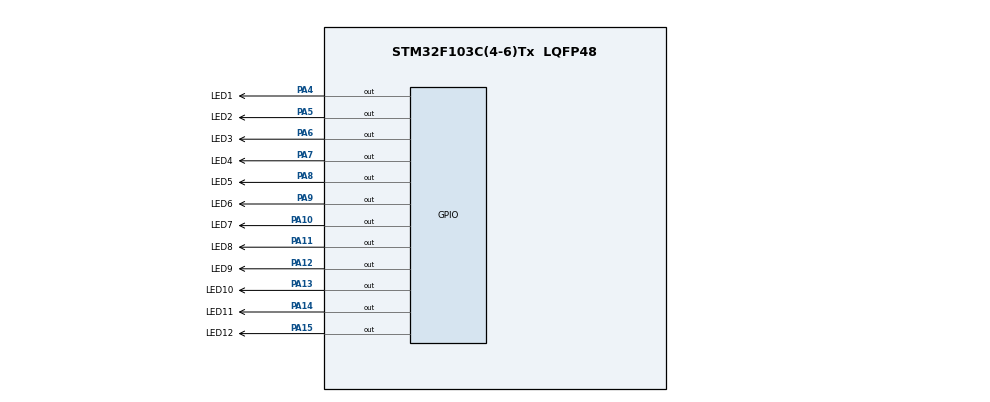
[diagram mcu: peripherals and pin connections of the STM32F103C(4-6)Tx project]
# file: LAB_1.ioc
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Mcu.Family=STM32F1
Mcu.Name=STM32F103C(4-6)Tx
Mcu.Package=LQFP48
NVIC.PriorityGroup=NVIC_PRIORITYGROUP_4
PA10.GPIO_Label=LED7
PA10.Signal=GPIO_Output
PA11.GPIO_Label=LED8
PA11.Signal=GPIO_Output
PA12.GPIO_Label=LED9
PA12.Signal=GPIO_Output
PA13.GPIO_Label=LED10
PA13.Signal=GPIO_Output
PA14.GPIO_Label=LED11
PA14.Signal=GPIO_Output
PA15.GPIO_Label=LED12
PA15.Signal=GPIO_Output
PA4.GPIO_Label=LED1
PA4.Signal=GPIO_Output
PA5.GPIO_Label=LED2
PA5.Signal=GPIO_Output
PA6.GPIO_Label=LED3
PA6.Signal=GPIO_Output
PA7.GPIO_Label=LED4
PA7.Signal=GPIO_Output
PA8.GPIO_Label=LED5
PA8.Signal=GPIO_Output
PA9.GPIO_Label=LED6
PA9.Signal=GPIO_Output
ProjectManager.HeapSize=0x200
ProjectManager.StackSize=0x400
ProjectManager.TargetToolchain=STM32CubeIDE
RCC.APB1Freq_Value=8000000
RCC.APB2Freq_Value=8000000
board=custom

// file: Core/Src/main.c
/* USER CODE BEGIN Header */
/**
  ******************************************************************************
  * @file           : main.c
  * @brief          : Main program body
  ******************************************************************************
  * @attention
  *
  * Copyright (c) 2025 STMicroelectronics.
  * All rights reserved.
  *
  * This software is licensed under terms that can be found in the LICENSE file
  * in the root directory of this software component.
  * If no LICENSE file comes with this software, it is provided AS-IS.
  *
  ******************************************************************************
  */
/* USER CODE END Header */
#include "main.h"

/* USER CODE BEGIN Includes */
#include "led_7seg.h"
#include "auto_led.h"
/* USER CODE END Includes */

/* USER CODE BEGIN PV */
int hour = 23;
int minute = 24;
int second = 50;
/* USER CODE END PV */

void SystemClock_Config(void);
static void MX_GPIO_Init(void);

int main(void)
{

  /* MCU Configuration--------------------------------------------------------*/

  /* Reset of all peripherals, Initializes the Flash interface and the Systick. */
  HAL_Init();

  /* Configure the system clock */
  SystemClock_Config();

  /* Initialize all configured peripherals */
  MX_GPIO_Init();

  /* Infinite loop */
  /* USER CODE BEGIN WHILE */
  while (1)
  {
	  clearAllClock();

	  // tính vị trí cho led giờ phút giây
	  int sec_pos = second/5; // 60 giay cho 12 vi tri, 5s/led
	  int min_pos = minute/5; // tuong tu cho phut
	  int hour_pos = hour%12;

	  //bat 3 led tuong ung
	  setNumberOnClock(sec_pos);
	  setNumberOnClock(min_pos);
	  setNumberOnClock(hour_pos);

	  HAL_Delay(1000);

	  // Cập nhật thời gian
	      second++;
	      if (second >= 60) {
	          second = 0;
	          minute++;
	      }
	      if (minute >= 60) {
	          minute = 0;
	          hour++;
	      }
	      if (hour >= 24) {
	          hour = 0;
	      }

    /* USER CODE END WHILE */

  }
}

void SystemClock_Config(void)
{
  RCC_OscInitTypeDef RCC_OscInitStruct = {0};
  RCC_ClkInitTypeDef RCC_ClkInitStruct = {0};

  /** Initializes the RCC Oscillators according to the specified parameters
  * in the RCC_OscInitTypeDef structure.
  */
  RCC_OscInitStruct.OscillatorType = RCC_OSCILLATORTYPE_HSI;
  RCC_OscInitStruct.HSIState = RCC_HSI_ON;
  RCC_OscInitStruct.HSICalibrationValue = RCC_HSICALIBRATION_DEFAULT;
  RCC_OscInitStruct.PLL.PLLState = RCC_PLL_NONE;
  if (HAL_RCC_OscConfig(&RCC_OscInitStruct) != HAL_OK)
  {
    Error_Handler();
  }

  /** Initializes the CPU, AHB and APB buses clocks
  */
  RCC_ClkInitStruct.ClockType = RCC_CLOCKTYPE_HCLK|RCC_CLOCKTYPE_SYSCLK
                              |RCC_CLOCKTYPE_PCLK1|RCC_CLOCKTYPE_PCLK2;
  RCC_ClkInitStruct.SYSCLKSource = RCC_SYSCLKSOURCE_HSI;
  RCC_ClkInitStruct.AHBCLKDivider = RCC_SYSCLK_DIV1;
  RCC_ClkInitStruct.APB1CLKDivider = RCC_HCLK_DIV1;
  RCC_ClkInitStruct.APB2CLKDivider = RCC_HCLK_DIV1;

  if (HAL_RCC_ClockConfig(&RCC_ClkInitStruct, FLASH_LATENCY_0) != HAL_OK)
  {
    Error_Handler();
  }
}

static void MX_GPIO_Init(void)
{
  GPIO_InitTypeDef GPIO_InitStruct = {0};

  /* GPIO Ports Clock Enable */
  __HAL_RCC_GPIOA_CLK_ENABLE();

  /*Configure GPIO pin Output Level */
  HAL_GPIO_WritePin(GPIOA, LED1_Pin|LED2_Pin|LED3_Pin|LED4_Pin
                          |LED5_Pin|LED6_Pin|LED7_Pin|LED8_Pin
                          |LED9_Pin|LED10_Pin|LED11_Pin|LED12_Pin, GPIO_PIN_RESET);

  /*Configure GPIO pins : LED1_Pin LED2_Pin LED3_Pin LED4_Pin
                           LED5_Pin LED6_Pin LED7_Pin LED8_Pin
                           LED9_Pin LED10_Pin LED11_Pin LED12_Pin */
  GPIO_InitStruct.Pin = LED1_Pin|LED2_Pin|LED3_Pin|LED4_Pin
                          |LED5_Pin|LED6_Pin|LED7_Pin|LED8_Pin
                          |LED9_Pin|LED10_Pin|LED11_Pin|LED12_Pin;
  GPIO_InitStruct.Mode = GPIO_MODE_OUTPUT_PP;
  GPIO_InitStruct.Pull = GPIO_NOPULL;
  GPIO_InitStruct.Speed = GPIO_SPEED_FREQ_LOW;
  HAL_GPIO_Init(GPIOA, &GPIO_InitStruct);

}

void Error_Handler(void)
{
  __disable_irq();
  while (1)
  {
  }
}
